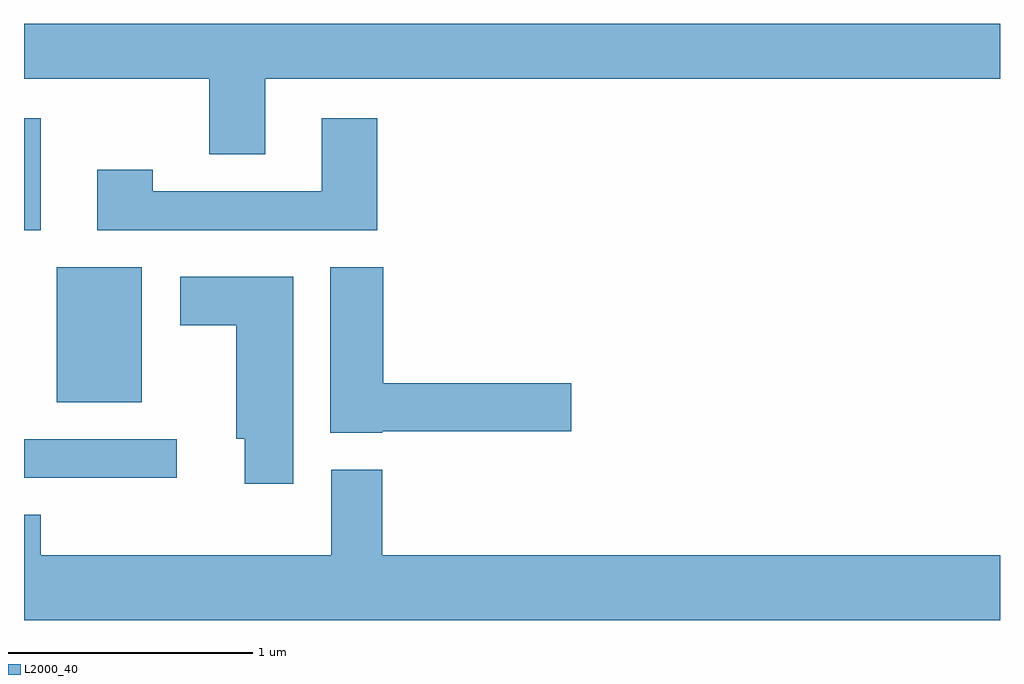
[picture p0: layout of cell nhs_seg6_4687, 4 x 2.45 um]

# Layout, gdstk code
import gdstk
lib = gdstk.Library(unit=1e-6, precision=1e-09)
def R(c, l, rs):  # rectangles x0, y0, x1, y1
    for r in rs: c.add(gdstk.rectangle(r[:2], r[2:], *l))
def P(c, l, *ps):  # polygons
    for p in ps: c.add(gdstk.Polygon(p, *l))
L2000_40 = (2000, 40)

nhs_seg6_4687 = lib.new_cell('nhs_seg6_4687')
R(nhs_seg6_4687, L2000_40, [(327.611,1648.301,328.238,1648.459), (327.746,1648.611,328.094,1649.164), (327.611,1649.316,327.679,1649.774)])
P(nhs_seg6_4687, L2000_40, [(328.599,1649.936),(331.611,1649.936),(331.611,1650.162),(327.611,1650.162),(327.611,1649.936),(328.371,1649.936),(328.371,1649.626),(328.599,1649.626)],
  [(329.059,1649.774),(328.831,1649.774),(328.831,1649.474),(328.139,1649.474),(328.139,1649.564),(327.911,1649.564),(327.911,1649.316),(329.059,1649.316)],
  [(329.08,1648.491),(329.854,1648.491),(329.854,1648.689),(329.084,1648.689),(329.084,1649.164),(328.866,1649.164),(328.866,1648.486),(329.08,1648.486)],
  [(328.714,1649.124),(328.251,1649.124),(328.251,1648.926),(328.481,1648.926),(328.481,1648.461),(328.516,1648.461),(328.516,1648.276),(328.714,1648.276)],
  [(331.611,1647.984),(329.079,1647.984),(329.079,1648.334),(328.871,1648.334),(328.871,1647.984),(327.679,1647.984),(327.679,1648.149),(327.611,1648.149),(327.611,1647.716),(331.611,1647.716)])

lib.write_gds('nhs_seg6_4687.gds')
